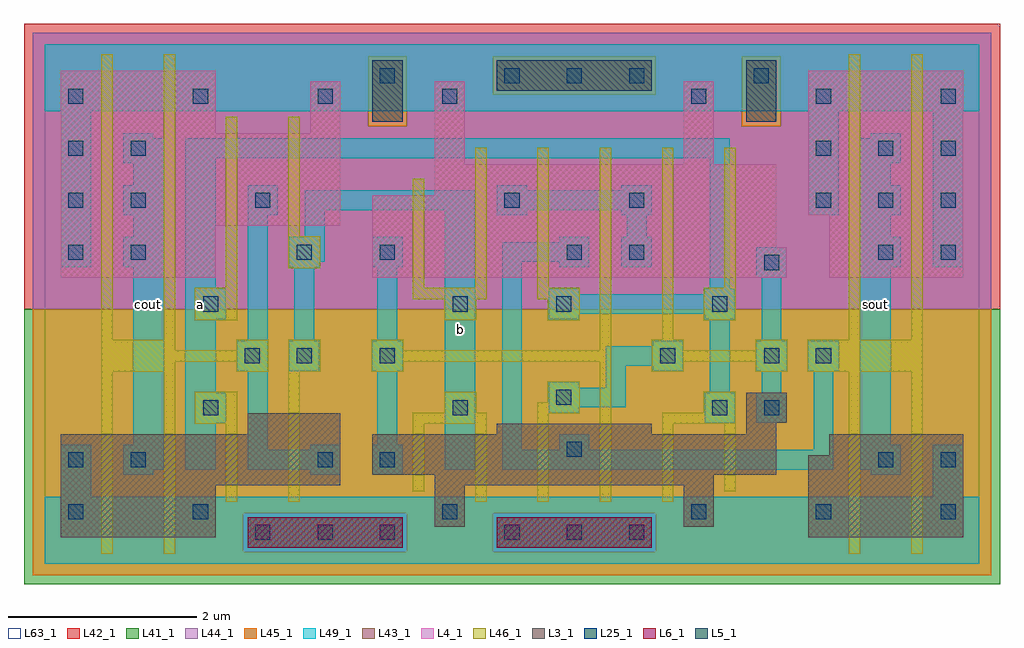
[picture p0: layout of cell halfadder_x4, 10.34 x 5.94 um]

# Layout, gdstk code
import gdstk
lib = gdstk.Library(unit=1e-6, precision=1e-09)
def R(c, l, rs):  # rectangles x0, y0, x1, y1
    for r in rs: c.add(gdstk.rectangle(r[:2], r[2:], *l))
def A(c, l, x, y, w, h, nx, ny, dx, dy):  # array of equal rectangles
    R(c, l, [(x+i*dx, y+j*dy, x+i*dx+w, y+j*dy+h) for i in range(nx) for j in range(ny)])
L3_1 = (3, 1)
L4_1 = (4, 1)
L5_1 = (5, 1)
L6_1 = (6, 1)
L25_1 = (25, 1)
L41_1 = (41, 1)
L42_1 = (42, 1)
L43_1 = (43, 1)
L44_1 = (44, 1)
L45_1 = (45, 1)
L46_1 = (46, 1)
L49_1 = (49, 1)
L63_1 = (63, 1)

halfadder_x4 = lib.new_cell('halfadder_x4')
R(halfadder_x4, L3_1, [(0.17,0.28,1.81,0.83), (8.09,0.28,9.73,1.15), (4.13,0.39,4.45,0.83), (6.77,0.39,7.09,0.83), (0.17,0.83,3.13,1.37), (4.13,0.83,7.09,0.94), (3.47,0.94,7.75,1.37), (8.31,1.15,9.73,1.37), (2.15,1.37,3.13,1.59), (4.79,1.37,6.43,1.48), (7.43,1.37,7.75,1.49), (7.43,1.49,7.86,1.81)])
R(halfadder_x4, L4_1, [(0.17,3.03,1.81,3.58), (3.47,3.03,7.86,3.35), (8.31,3.03,9.73,3.69), (3.47,3.35,7.75,3.9), (0.17,3.58,3.13,4.56), (8.09,3.69,9.73,5.22), (4.13,3.9,7.75,4.23), (4.13,4.23,4.45,5.11), (6.77,4.23,7.09,5.11), (0.17,4.56,1.81,5.22), (2.81,4.56,3.13,5.11)])
R(halfadder_x4, L5_1, [(3.47,4.68,3.79,5.33), (7.43,4.68,7.75,5.33), (4.79,5.01,6.43,5.33)])
R(halfadder_x4, L6_1, [(2.15,0.17,3.79,0.49), (4.79,0.17,6.43,0.49)])
A(halfadder_x4, L25_1, 2.23, 0.25, 0.16, 0.16, 3, 1, 0.66, 0)
A(halfadder_x4, L25_1, 4.87, 0.25, 0.16, 0.16, 3, 2, 0.66, 4.84)
A(halfadder_x4, L25_1, 1.57, 0.47, 0.16, 0.16, 3, 1, 2.64, 0)
A(halfadder_x4, L25_1, 3.55, 1.02, 0.16, 0.16, 1, 3, 0, 1.1)
A(halfadder_x4, L25_1, 0.25, 3.22, 0.16, 0.16, 1, 3, 0, 0.55)
A(halfadder_x4, L25_1, 0.91, 3.22, 0.16, 0.16, 1, 3, 0, 0.55)
A(halfadder_x4, L25_1, 8.17, 3.77, 0.16, 0.16, 3, 2, 0.66, 0.55)
A(halfadder_x4, L25_1, 0.25, 4.87, 0.16, 0.16, 4, 1, 1.32, 0)
A(halfadder_x4, L25_1, 6.85, 4.87, 0.16, 0.16, 3, 1, 1.32, 0)
R(halfadder_x4, L25_1, [(0.25,0.47,0.41,0.63), (8.17,0.47,8.33,0.63), (9.49,0.47,9.65,0.63), (0.25,1.02,0.41,1.18), (0.91,1.02,1.07,1.18), (2.89,1.02,3.05,1.18), (8.83,1.02,8.99,1.18), (9.49,1.02,9.65,1.18), (5.53,1.13,5.69,1.29), (1.68,1.57,1.84,1.73), (4.32,1.57,4.48,1.73), (7.07,1.57,7.23,1.73), (7.62,1.57,7.78,1.73), (5.42,1.68,5.58,1.84), (2.12,2.12,2.28,2.28), (2.67,2.12,2.83,2.28), (6.52,2.12,6.68,2.28), (7.62,2.12,7.78,2.28), (8.17,2.12,8.33,2.28), (1.68,2.67,1.84,2.83), (4.32,2.67,4.48,2.83), (5.42,2.67,5.58,2.83), (7.07,2.67,7.23,2.83), (7.62,3.11,7.78,3.27), (2.67,3.22,2.83,3.38), (5.53,3.22,5.69,3.38), (6.19,3.22,6.35,3.38), (8.83,3.22,8.99,3.38), (9.49,3.22,9.65,3.38), (2.23,3.77,2.39,3.93), (4.87,3.77,5.03,3.93), (6.19,3.77,6.35,3.93), (3.55,5.09,3.71,5.25), (7.51,5.09,7.67,5.25)])
R(halfadder_x4, L41_1, [(-0.22,-0.22,10.12,2.695)])
R(halfadder_x4, L42_1, [(-0.22,2.695,10.12,5.72)])
R(halfadder_x4, L43_1, [(2.15,0.17,3.79,0.49), (4.79,0.17,6.43,0.49), (0.17,0.28,1.81,0.83), (8.09,0.28,9.73,1.15), (4.13,0.39,4.45,0.83), (6.77,0.39,7.09,0.83), (0.17,0.83,3.13,1.37), (4.13,0.83,7.09,0.94), (3.47,0.94,7.75,1.37), (8.31,1.15,9.73,1.37), (2.15,1.37,3.13,1.59), (4.79,1.37,6.43,1.48), (7.43,1.37,7.75,1.49), (7.43,1.49,7.86,1.81), (0.17,3.03,1.81,3.58), (3.47,3.03,7.86,3.35), (8.31,3.03,9.73,3.69), (3.47,3.35,7.75,3.9), (0.17,3.58,3.13,4.56), (8.09,3.69,9.73,5.22), (4.13,3.9,7.75,4.23), (4.13,4.23,4.45,5.11), (6.77,4.23,7.09,5.11), (0.17,4.56,1.81,5.22), (2.81,4.56,3.13,5.11), (3.47,4.68,3.79,5.33), (7.43,4.68,7.75,5.33), (4.79,5.01,6.43,5.33)])
R(halfadder_x4, L44_1, [(2.105,0.125,3.835,0.535), (4.745,0.125,6.475,0.535), (-0.125,2.695,10.025,4.635), (-0.125,4.635,3.425,5.375), (3.835,4.635,7.385,4.965), (7.795,4.635,10.025,5.375), (3.835,4.965,4.745,5.375), (6.475,4.965,7.385,5.375), (-0.125,5.375,10.025,5.625)])
R(halfadder_x4, L45_1, [(-0.125,-0.125,10.025,0.125), (-0.125,0.125,2.105,0.535), (3.835,0.125,4.745,0.535), (6.475,0.125,10.025,0.535), (-0.125,0.535,10.025,2.695), (3.425,4.635,3.835,5.375), (7.385,4.635,7.795,5.375), (4.745,4.965,6.475,5.375)])
R(halfadder_x4, L46_1, [(0.6,0.105,0.72,2.03), (1.26,0.105,1.38,2.03), (8.52,0.105,8.64,2.03), (9.18,0.105,9.3,2.03), (1.92,0.655,2.04,1.48), (2.58,0.655,2.7,2.03), (4.56,0.655,4.68,1.48), (5.22,0.655,5.34,1.59), (5.88,0.655,6,2.14), (6.54,0.655,6.66,1.48), (3.9,0.765,4.02,1.48), (7.2,0.765,7.32,1.48), (1.59,1.48,2.04,1.82), (3.9,1.48,4.68,1.6), (6.54,1.48,7.32,1.6), (5.22,1.59,5.67,1.71), (4.23,1.6,4.57,1.82), (6.98,1.6,7.32,1.82), (5.33,1.71,5.67,1.93), (0.6,2.03,1.38,2.14), (2.03,2.03,2.37,2.14), (2.58,2.03,2.92,2.37), (3.46,2.03,3.8,2.14), (6.43,2.03,6.77,2.14), (7.53,2.03,7.87,2.14), (8.08,2.03,9.3,2.37), (0.6,2.14,2.37,2.26), (3.46,2.14,6,2.26), (6.43,2.14,7.87,2.26), (0.6,2.26,1.38,2.37), (2.03,2.26,2.37,2.37), (3.46,2.26,3.8,2.37), (5.88,2.26,6,4.405), (6.43,2.26,6.77,2.37), (7.53,2.26,7.87,2.37), (0.6,2.37,0.72,5.395), (1.26,2.37,1.38,5.395), (6.54,2.37,6.66,4.405), (8.52,2.37,8.64,5.395), (9.18,2.37,9.3,5.395), (1.59,2.58,2.04,2.92), (4.23,2.58,4.57,2.8), (5.33,2.58,5.67,2.8), (6.98,2.58,7.32,2.92), (3.9,2.8,4.68,2.92), (5.22,2.8,5.67,2.92), (1.92,2.92,2.04,4.735), (3.9,2.92,4.02,4.075), (4.56,2.92,4.68,4.405), (5.22,2.92,5.34,4.405), (7.2,2.92,7.32,4.405), (2.58,3.13,2.92,3.47), (2.58,3.47,2.7,4.735)])
A(halfadder_x4, L49_1, 3.47, 0.94, 0.32, 0.32, 1, 3, 0, 1.1)
R(halfadder_x4, L49_1, [(0,0,9.9,0.71), (0.17,0.71,0.49,1.26), (9.41,0.71,9.73,1.26), (0.83,0.94,1.15,0.995), (2.81,0.94,3.13,0.995), (8.75,0.94,9.07,0.995), (0.83,0.995,1.26,1.26), (1.49,0.995,1.81,1.49), (2.15,0.995,3.13,1.205), (4.24,0.995,4.56,3.745), (4.845,0.995,8.355,1.205), (8.64,0.995,9.07,1.26), (2.15,1.205,2.36,2.04), (2.81,1.205,3.13,1.26), (4.845,1.205,5.055,3.195), (5.45,1.205,5.77,1.37), (8.145,1.205,8.355,2.04), (0.94,1.26,1.26,3.14), (3.525,1.26,3.735,2.04), (8.64,1.26,8.96,3.14), (1.49,1.49,1.92,1.81), (6.99,1.49,7.31,1.81), (7.54,1.49,7.86,1.81), (5.34,1.6,5.66,1.655), (5.34,1.655,6.155,1.865), (1.49,1.81,1.81,2.59), (7.045,1.81,7.255,2.59), (7.595,1.81,7.805,2.04), (5.34,1.865,5.66,1.92), (5.945,1.865,6.155,2.095), (2.04,2.04,2.36,2.36), (2.59,2.04,2.91,2.36), (6.44,2.04,6.76,2.095), (7.54,2.04,7.86,2.36), (8.09,2.04,8.41,2.36), (5.945,2.095,6.76,2.305), (6.44,2.305,6.76,2.36), (2.15,2.36,2.36,3.69), (2.645,2.36,2.855,3.14), (3.525,2.36,3.735,3.14), (7.595,2.36,7.805,3.03), (1.49,2.59,1.92,2.91), (5.34,2.59,5.66,2.645), (6.99,2.59,7.31,2.645), (5.34,2.645,7.31,2.855), (5.34,2.855,5.66,2.91), (6.99,2.855,7.31,2.91), (1.49,2.91,1.81,4.295), (7.045,2.91,7.255,4.295), (7.54,3.03,7.86,3.35), (0.17,3.14,0.49,4.79), (0.83,3.14,1.26,3.46), (2.59,3.14,2.91,3.195), (5.45,3.14,5.77,3.195), (6.11,3.14,6.43,3.46), (8.64,3.14,9.07,3.46), (9.41,3.14,9.73,4.79), (2.59,3.195,2.965,3.46), (4.845,3.195,5.77,3.405), (5.45,3.405,5.77,3.46), (0.94,3.46,1.26,3.69), (2.755,3.46,2.965,3.745), (6.165,3.46,6.375,3.69), (8.64,3.46,8.96,3.69), (0.83,3.69,1.26,4.01), (2.15,3.69,2.47,4.01), (4.79,3.69,5.11,3.745), (6.11,3.69,6.43,3.745), (8.09,3.69,8.41,4.79), (8.64,3.69,9.07,4.01), (2.755,3.745,4.56,3.955), (4.79,3.745,6.43,3.955), (4.79,3.955,5.11,4.01), (6.11,3.955,6.43,4.01), (0.94,4.01,1.26,4.24), (8.64,4.01,8.96,4.24), (0.83,4.24,1.26,4.505), (8.64,4.24,9.07,4.505), (1.49,4.295,7.255,4.505), (0.83,4.505,1.15,4.56), (8.75,4.505,9.07,4.56), (0,4.79,9.9,5.5)])
R(halfadder_x4, L63_1, [(0,0,9.9,5.5)])
halfadder_x4.add(gdstk.Label('a', (1.65,2.75), layer=49, texttype=1))
halfadder_x4.add(gdstk.Label('cout', (1.1,2.75), layer=49, texttype=1))
halfadder_x4.add(gdstk.Label('a', (1.65,2.75), layer=49, texttype=1))
halfadder_x4.add(gdstk.Label('cout', (1.1,2.75), layer=49, texttype=1))
halfadder_x4.add(gdstk.Label('b', (4.4,2.475), layer=49, texttype=1))
halfadder_x4.add(gdstk.Label('b', (4.4,2.475), layer=49, texttype=1))
halfadder_x4.add(gdstk.Label('sout', (8.8,2.75), layer=49, texttype=1))
halfadder_x4.add(gdstk.Label('sout', (8.8,2.75), layer=49, texttype=1))

lib.write_gds('halfadder_x4.gds')
